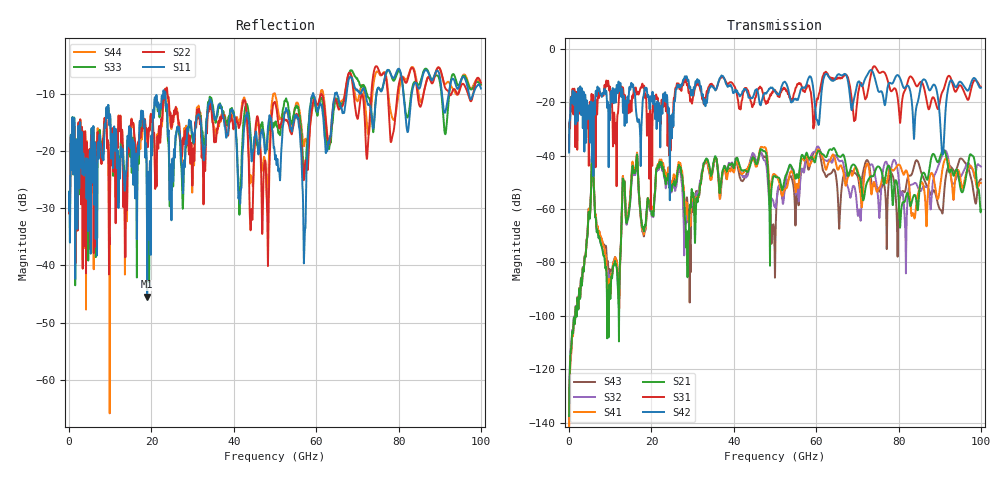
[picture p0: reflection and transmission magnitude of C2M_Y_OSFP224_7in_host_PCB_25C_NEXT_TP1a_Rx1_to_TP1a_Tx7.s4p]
# GHz S RI R 45
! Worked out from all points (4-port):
!   4000 points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, 25 MHz to 100 GHz, reference 45 ohm
!   strongest paths, dB at 25 MHz, 25.02 GHz, 50.02 GHz, 75.03 GHz, 100 GHz:
!     S42: -38.8, -30.3, -16.0, -15.6, -14.6
!     S31: -38.4, -27.0, -15.4, -8.5, -14.2
!     S21: -137.6, -51.1, -47.8, -44.1, -60.2
!     S41: -142.4, -49.6, -47.2, -52.7, -50.3
!     S32: -136.5, -52.1, -59.0, -55.6, -44.1
!     S43: -140.7, -50.7, -84.9, -52.5, -48.9
!   lowest |S11| = -45.4 dB at 18.98 GHz (marker M1), VSWR 1.01, Z = 45.3 - j0.366 ohm
!   |S11| at or under -10 dB: start of sweep to 22.85 GHz; 23.41 GHz to 59.17 GHz (35.76 GHz wide, 86.6 % of centre); 59.32 GHz to 64.57 GHz (5.253 GHz wide, 8.48 % of centre) (the widest 3 of 11)
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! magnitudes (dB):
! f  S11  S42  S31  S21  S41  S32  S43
! 25 MHz  -30.4  -38.8  -38.4  -137.6  -142.4  -136.5  -140.7
! 5.7 GHz  -25.5  -20.8  -27.0  -39.6  -39.3  -39.4  -39.2
! 9.175 GHz  -12.7  -19.0  -12.9  -89.5  -85.3  -84.6  -79.5
! 16.15 GHz  -21.2  -20.3  -14.6  -45.6  -44.5  -46.6  -45.5
! 18.98 GHz  -45.4  -16.6  -29.6  -58.2  -58.6  -59.0  -59.4
! 64.05 GHz  -12.9  -12.1  -11.0  -37.4  -39.6  -42.0  -45.7
! 100 GHz  -9.1  -14.6  -14.2  -60.2  -50.3  -44.1  -48.9
